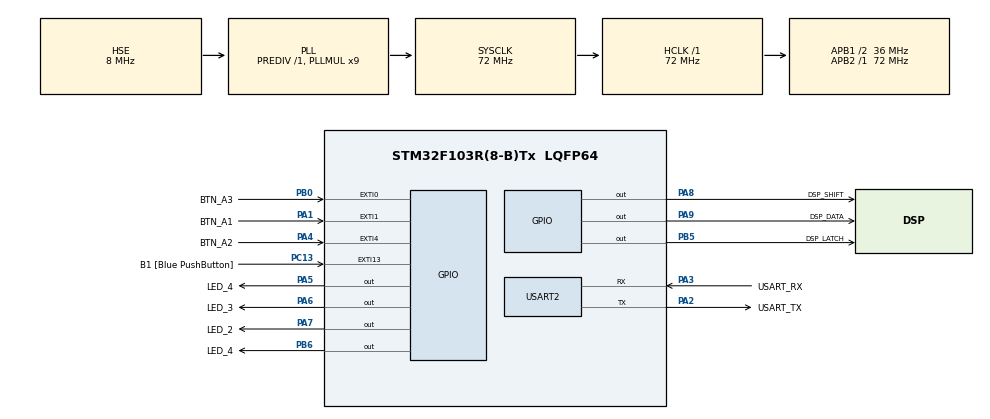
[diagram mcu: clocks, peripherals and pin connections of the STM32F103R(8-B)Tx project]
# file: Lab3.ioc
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Mcu.Family=STM32F1
Mcu.Name=STM32F103R(8-B)Tx
Mcu.Package=LQFP64
NVIC.EXTI0_IRQn=true\:0\:0\:false\:true\:true\:5\:true\:true\:true
NVIC.EXTI15_10_IRQn=true\:0\:0\:false\:true\:true\:1\:true\:true\:true
NVIC.EXTI1_IRQn=true\:0\:0\:false\:true\:true\:4\:true\:true\:true
NVIC.EXTI4_IRQn=true\:0\:0\:false\:true\:true\:3\:true\:true\:true
NVIC.PriorityGroup=NVIC_PRIORITYGROUP_4
NVIC.TIM1_UP_IRQn=true\:0\:0\:false\:true\:true\:2\:true\:true\:true
NVIC.TIM2_IRQn=true\:0\:0\:false\:true\:true\:6\:true\:true\:true
PA1.GPIO_Label=BTN_A1
PA1.GPIO_ModeDefaultEXTI=GPIO_MODE_IT_RISING
PA1.Signal=GPXTI1
PA13.GPIO_Label=TMS
PA13.Mode=Serial_Wire
PA13.Signal=SYS_JTMS-SWDIO
PA14.GPIO_Label=TCK
PA14.Mode=Serial_Wire
PA14.Signal=SYS_JTCK-SWCLK
PA2.GPIO_Label=USART_TX
PA2.GPIO_Mode=GPIO_MODE_AF_PP
PA2.GPIO_PuPd=GPIO_NOPULL
PA2.GPIO_Speed=GPIO_SPEED_FREQ_LOW
PA2.Mode=Asynchronous
PA2.Signal=USART2_TX
PA3.GPIO_Label=USART_RX
PA3.GPIO_Mode=GPIO_MODE_AF_PP
PA3.GPIO_PuPd=GPIO_NOPULL
PA3.GPIO_Speed=GPIO_SPEED_FREQ_LOW
PA3.Mode=Asynchronous
PA3.Signal=USART2_RX
PA4.GPIO_Label=BTN_A2
PA4.GPIO_ModeDefaultEXTI=GPIO_MODE_IT_RISING
PA4.Signal=GPXTI4
PA5.GPIO_Label=LED_4
PA5.Signal=GPIO_Output
PA6.GPIO_Label=LED_3
PA6.Signal=GPIO_Output
PA7.GPIO_Label=LED_2
PA7.Signal=GPIO_Output
PA8.GPIO_Label=DSP_SHIFT
PA8.Signal=GPIO_Output
PA9.GPIO_Label=DSP_DATA
PA9.Signal=GPIO_Output
PB0.GPIO_Label=BTN_A3
PB0.GPIO_ModeDefaultEXTI=GPIO_MODE_IT_RISING
PB0.Signal=GPXTI0
PB3.GPIO_Label=SWO
PB3.Signal=SYS_JTDO-TRACESWO
PB5.GPIO_Label=DSP_LATCH
PB5.Signal=GPIO_Output
PB6.GPIO_Label=LED_4
PB6.Signal=GPIO_Output
PC13-TAMPER-RTC.GPIO_Label=B1 [Blue PushButton]
PC13-TAMPER-RTC.GPIO_PuPd=GPIO_NOPULL
PC13-TAMPER-RTC.Signal=GPXTI13
PC14-OSC32_IN.Mode=LSE-External-Oscillator
PC14-OSC32_IN.Signal=RCC_OSC32_IN
PC15-OSC32_OUT.Mode=LSE-External-Oscillator
PC15-OSC32_OUT.Signal=RCC_OSC32_OUT
PD0-OSC_IN.Mode=HSE-External-Clock-Source
PD0-OSC_IN.Signal=RCC_OSC_IN
PD1-OSC_OUT.Mode=HSE-External-Clock-Source
PD1-OSC_OUT.Signal=RCC_OSC_OUT
ProjectManager.HeapSize=0x200
ProjectManager.StackSize=0x400
ProjectManager.TargetToolchain=MDK-ARM V5.32
RCC.AHBFreq_Value=72000000
RCC.APB1CLKDivider=RCC_HCLK_DIV2
RCC.APB1Freq_Value=36000000
RCC.APB1TimFreq_Value=72000000
RCC.APB2Freq_Value=72000000
RCC.APB2TimFreq_Value=72000000
RCC.HCLKFreq_Value=72000000
RCC.PLLMUL=RCC_PLL_MUL9
RCC.PLLSourceVirtual=RCC_PLLSOURCE_HSE
RCC.RTCClockSelection=RCC_RTCCLKSOURCE_LSE
RCC.SYSCLKFreq_VALUE=72000000
RCC.SYSCLKSource=RCC_SYSCLKSOURCE_PLLCLK
RCC.USBFreq_Value=72000000
TIM1.Period=9999
TIM1.Prescaler=719
TIM2.Period=19999
TIM2.Prescaler=719
USART2.VirtualMode=VM_ASYNC
VP_TIM1_VS_ClockSourceINT.Mode=Internal
VP_TIM2_VS_ClockSourceINT.Mode=Internal
board=NUCLEO-F103RB

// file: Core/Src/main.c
/* USER CODE BEGIN Header */
/**
  ******************************************************************************
  * @file           : main.c
  * @brief          : Main program body
  ******************************************************************************
  * @attention
  *
  * Copyright (c) 2022 STMicroelectronics.
  * All rights reserved.
  *
  * This software is licensed under terms that can be found in the LICENSE file
  * in the root directory of this software component.
  * If no LICENSE file comes with this software, it is provided AS-IS.
  *
  ******************************************************************************
  */
/* USER CODE END Header */
#include "main.h"

TIM_HandleTypeDef htim1;
TIM_HandleTypeDef htim2;

UART_HandleTypeDef huart2;

/* USER CODE BEGIN PV */
int tim_milliseconds = 0;
int tim_seconds = 0;
int tim_minutes = 0;
int tim_init = 0;
int enable = 0;
uint16_t pressed_pin = 0;
int digits[12] = { 0xC0, 0xF9, 0xA4, 0xB0, 0x99, 0x92, 0x82, 0xF8, 0x80, 0x90, 0x7F, 0xFF };
int positions[5] = { 0x00, 0x01, 0x02, 0x04, 0x08 };
/* USER CODE END PV */

void SystemClock_Config(void);
static void MX_GPIO_Init(void);
static void MX_USART2_UART_Init(void);
static void MX_TIM1_Init(void);
static void MX_TIM2_Init(void);
static void MX_NVIC_Init(void);
/* USER CODE BEGIN PFP */
void WriteDigit(int, int);
void ResetLeds();
/* USER CODE END PFP */

/* USER CODE BEGIN 0 */
void WriteDigit(int position, int digit)
{
	int j = 0;
	while (j < 8)
	{
		if (((digit << j) & 0x80) != 0)
		{
			HAL_GPIO_WritePin(DSP_DATA_GPIO_Port, DSP_DATA_Pin, GPIO_PIN_SET);
		}
		else
		{
			HAL_GPIO_WritePin(DSP_DATA_GPIO_Port, DSP_DATA_Pin, GPIO_PIN_RESET);
		}
		HAL_GPIO_WritePin(DSP_SHIFT_GPIO_Port, DSP_SHIFT_Pin, GPIO_PIN_SET);
		HAL_GPIO_WritePin(DSP_SHIFT_GPIO_Port, DSP_SHIFT_Pin, GPIO_PIN_RESET);
		++j;
	}
	j = 0;
	while (j < 8)
	{
		if (((position << j) & 0x80) != 0)
		{
			HAL_GPIO_WritePin(DSP_DATA_GPIO_Port, DSP_DATA_Pin, GPIO_PIN_SET);
		}
		else
		{
			HAL_GPIO_WritePin(DSP_DATA_GPIO_Port, DSP_DATA_Pin, GPIO_PIN_RESET);
		}
		HAL_GPIO_WritePin(DSP_SHIFT_GPIO_Port, DSP_SHIFT_Pin, GPIO_PIN_SET);
		HAL_GPIO_WritePin(DSP_SHIFT_GPIO_Port, DSP_SHIFT_Pin, GPIO_PIN_RESET);
		++j;
	}
	HAL_GPIO_WritePin(DSP_LATCH_GPIO_Port, DSP_LATCH_Pin, GPIO_PIN_SET);
	HAL_GPIO_WritePin(DSP_LATCH_GPIO_Port, DSP_LATCH_Pin, GPIO_PIN_RESET);
}

void ResetLeds()
{
	HAL_GPIO_WritePin(GPIOA, GPIO_PIN_5, GPIO_PIN_SET);
	HAL_GPIO_WritePin(GPIOA, GPIO_PIN_6, GPIO_PIN_SET);
	HAL_GPIO_WritePin(GPIOA, GPIO_PIN_7, GPIO_PIN_SET);
	HAL_GPIO_WritePin(GPIOB, GPIO_PIN_6, GPIO_PIN_SET);
}
/* USER CODE END 0 */

int main(void)
{

  /* MCU Configuration--------------------------------------------------------*/

  /* Reset of all peripherals, Initializes the Flash interface and the Systick. */
  HAL_Init();

  /* Configure the system clock */
  SystemClock_Config();

  /* Initialize all configured peripherals */
  MX_GPIO_Init();
  MX_USART2_UART_Init();
  MX_TIM1_Init();
  MX_TIM2_Init();

  /* Initialize interrupts */
  MX_NVIC_Init();
  /* USER CODE BEGIN 2 */
	HAL_GPIO_WritePin(GPIOA, GPIO_PIN_5, GPIO_PIN_SET);
	HAL_GPIO_WritePin(GPIOA, GPIO_PIN_6, GPIO_PIN_SET);
	HAL_GPIO_WritePin(GPIOA, GPIO_PIN_7, GPIO_PIN_SET);
	HAL_GPIO_WritePin(GPIOB, GPIO_PIN_6, GPIO_PIN_SET);

	HAL_TIM_Base_Start_IT(&htim2);
	HAL_GPIO_WritePin(GPIOA, GPIO_PIN_5, GPIO_PIN_RESET);
  /* USER CODE END 2 */

  /* Infinite loop */
  while (1)
  {
		int units = tim_seconds % 10;
		int dozens = tim_seconds / 10;
		WriteDigit(positions[4], digits[tim_milliseconds]);
		WriteDigit(positions[3], digits[units] & digits[10]);
		if (dozens > 0 || tim_minutes > 0)
		{
			WriteDigit(positions[2], digits[dozens]);
		}
		if (tim_minutes > 0)
		{
			WriteDigit(positions[1], digits[tim_minutes] & digits[10]);
		}
  }
}

void SystemClock_Config(void)
{
  RCC_OscInitTypeDef RCC_OscInitStruct = {0};
  RCC_ClkInitTypeDef RCC_ClkInitStruct = {0};

  /** Initializes the RCC Oscillators according to the specified parameters
  * in the RCC_OscInitTypeDef structure.
  */
  RCC_OscInitStruct.OscillatorType = RCC_OSCILLATORTYPE_HSE;
  RCC_OscInitStruct.HSEState = RCC_HSE_BYPASS;
  RCC_OscInitStruct.HSEPredivValue = RCC_HSE_PREDIV_DIV1;
  RCC_OscInitStruct.HSIState = RCC_HSI_ON;
  RCC_OscInitStruct.PLL.PLLState = RCC_PLL_ON;
  RCC_OscInitStruct.PLL.PLLSource = RCC_PLLSOURCE_HSE;
  RCC_OscInitStruct.PLL.PLLMUL = RCC_PLL_MUL9;
  if (HAL_RCC_OscConfig(&RCC_OscInitStruct) != HAL_OK)
  {
    Error_Handler();
  }

  /** Initializes the CPU, AHB and APB buses clocks
  */
  RCC_ClkInitStruct.ClockType = RCC_CLOCKTYPE_HCLK|RCC_CLOCKTYPE_SYSCLK
                              |RCC_CLOCKTYPE_PCLK1|RCC_CLOCKTYPE_PCLK2;
  RCC_ClkInitStruct.SYSCLKSource = RCC_SYSCLKSOURCE_PLLCLK;
  RCC_ClkInitStruct.AHBCLKDivider = RCC_SYSCLK_DIV1;
  RCC_ClkInitStruct.APB1CLKDivider = RCC_HCLK_DIV2;
  RCC_ClkInitStruct.APB2CLKDivider = RCC_HCLK_DIV1;

  if (HAL_RCC_ClockConfig(&RCC_ClkInitStruct, FLASH_LATENCY_2) != HAL_OK)
  {
    Error_Handler();
  }
}

/**
  * @brief NVIC Configuration.
  * @retval None
  */
static void MX_NVIC_Init(void)
{
  /* EXTI15_10_IRQn interrupt configuration */
  HAL_NVIC_SetPriority(EXTI15_10_IRQn, 0, 0);
  HAL_NVIC_EnableIRQ(EXTI15_10_IRQn);
  /* TIM1_UP_IRQn interrupt configuration */
  HAL_NVIC_SetPriority(TIM1_UP_IRQn, 0, 0);
  HAL_NVIC_EnableIRQ(TIM1_UP_IRQn);
  /* EXTI4_IRQn interrupt configuration */
  HAL_NVIC_SetPriority(EXTI4_IRQn, 0, 0);
  HAL_NVIC_EnableIRQ(EXTI4_IRQn);
  /* EXTI1_IRQn interrupt configuration */
  HAL_NVIC_SetPriority(EXTI1_IRQn, 0, 0);
  HAL_NVIC_EnableIRQ(EXTI1_IRQn);
  /* EXTI0_IRQn interrupt configuration */
  HAL_NVIC_SetPriority(EXTI0_IRQn, 0, 0);
  HAL_NVIC_EnableIRQ(EXTI0_IRQn);
  /* TIM2_IRQn interrupt configuration */
  HAL_NVIC_SetPriority(TIM2_IRQn, 0, 0);
  HAL_NVIC_EnableIRQ(TIM2_IRQn);
}

static void MX_TIM1_Init(void)
{

  TIM_ClockConfigTypeDef sClockSourceConfig = {0};
  TIM_MasterConfigTypeDef sMasterConfig = {0};

  htim1.Instance = TIM1;
  htim1.Init.Prescaler = 719;
  htim1.Init.CounterMode = TIM_COUNTERMODE_UP;
  htim1.Init.Period = 9999;
  htim1.Init.ClockDivision = TIM_CLOCKDIVISION_DIV1;
  htim1.Init.RepetitionCounter = 0;
  htim1.Init.AutoReloadPreload = TIM_AUTORELOAD_PRELOAD_DISABLE;
  if (HAL_TIM_Base_Init(&htim1) != HAL_OK)
  {
    Error_Handler();
  }
  sClockSourceConfig.ClockSource = TIM_CLOCKSOURCE_INTERNAL;
  if (HAL_TIM_ConfigClockSource(&htim1, &sClockSourceConfig) != HAL_OK)
  {
    Error_Handler();
  }
  sMasterConfig.MasterOutputTrigger = TIM_TRGO_RESET;
  sMasterConfig.MasterSlaveMode = TIM_MASTERSLAVEMODE_DISABLE;
  if (HAL_TIMEx_MasterConfigSynchronization(&htim1, &sMasterConfig) != HAL_OK)
  {
    Error_Handler();
  }

}

static void MX_TIM2_Init(void)
{

  TIM_ClockConfigTypeDef sClockSourceConfig = {0};
  TIM_MasterConfigTypeDef sMasterConfig = {0};

  htim2.Instance = TIM2;
  htim2.Init.Prescaler = 719;
  htim2.Init.CounterMode = TIM_COUNTERMODE_UP;
  htim2.Init.Period = 19999;
  htim2.Init.ClockDivision = TIM_CLOCKDIVISION_DIV1;
  htim2.Init.AutoReloadPreload = TIM_AUTORELOAD_PRELOAD_DISABLE;
  if (HAL_TIM_Base_Init(&htim2) != HAL_OK)
  {
    Error_Handler();
  }
  sClockSourceConfig.ClockSource = TIM_CLOCKSOURCE_INTERNAL;
  if (HAL_TIM_ConfigClockSource(&htim2, &sClockSourceConfig) != HAL_OK)
  {
    Error_Handler();
  }
  sMasterConfig.MasterOutputTrigger = TIM_TRGO_RESET;
  sMasterConfig.MasterSlaveMode = TIM_MASTERSLAVEMODE_DISABLE;
  if (HAL_TIMEx_MasterConfigSynchronization(&htim2, &sMasterConfig) != HAL_OK)
  {
    Error_Handler();
  }

}

static void MX_USART2_UART_Init(void)
{

  huart2.Instance = USART2;
  huart2.Init.BaudRate = 115200;
  huart2.Init.WordLength = UART_WORDLENGTH_8B;
  huart2.Init.StopBits = UART_STOPBITS_1;
  huart2.Init.Parity = UART_PARITY_NONE;
  huart2.Init.Mode = UART_MODE_TX_RX;
  huart2.Init.HwFlowCtl = UART_HWCONTROL_NONE;
  huart2.Init.OverSampling = UART_OVERSAMPLING_16;
  if (HAL_UART_Init(&huart2) != HAL_OK)
  {
    Error_Handler();
  }

}

static void MX_GPIO_Init(void)
{
  GPIO_InitTypeDef GPIO_InitStruct = {0};

  /* GPIO Ports Clock Enable */
  __HAL_RCC_GPIOC_CLK_ENABLE();
  __HAL_RCC_GPIOD_CLK_ENABLE();
  __HAL_RCC_GPIOA_CLK_ENABLE();
  __HAL_RCC_GPIOB_CLK_ENABLE();

  /*Configure GPIO pin Output Level */
  HAL_GPIO_WritePin(GPIOA, LED_4_Pin|LED_3_Pin|LED_2_Pin|DSP_SHIFT_Pin
                          |DSP_DATA_Pin, GPIO_PIN_RESET);

  /*Configure GPIO pin Output Level */
  HAL_GPIO_WritePin(GPIOB, DSP_LATCH_Pin|LED_4B6_Pin, GPIO_PIN_RESET);

  /*Configure GPIO pin : B1_Pin */
  GPIO_InitStruct.Pin = B1_Pin;
  GPIO_InitStruct.Mode = GPIO_MODE_IT_RISING;
  GPIO_InitStruct.Pull = GPIO_NOPULL;
  HAL_GPIO_Init(B1_GPIO_Port, &GPIO_InitStruct);

  /*Configure GPIO pins : BTN_A1_Pin BTN_A2_Pin */
  GPIO_InitStruct.Pin = BTN_A1_Pin|BTN_A2_Pin;
  GPIO_InitStruct.Mode = GPIO_MODE_IT_RISING;
  GPIO_InitStruct.Pull = GPIO_NOPULL;
  HAL_GPIO_Init(GPIOA, &GPIO_InitStruct);

  /*Configure GPIO pins : LED_4_Pin LED_3_Pin LED_2_Pin DSP_SHIFT_Pin
                           DSP_DATA_Pin */
  GPIO_InitStruct.Pin = LED_4_Pin|LED_3_Pin|LED_2_Pin|DSP_SHIFT_Pin
                          |DSP_DATA_Pin;
  GPIO_InitStruct.Mode = GPIO_MODE_OUTPUT_PP;
  GPIO_InitStruct.Pull = GPIO_NOPULL;
  GPIO_InitStruct.Speed = GPIO_SPEED_FREQ_LOW;
  HAL_GPIO_Init(GPIOA, &GPIO_InitStruct);

  /*Configure GPIO pin : BTN_A3_Pin */
  GPIO_InitStruct.Pin = BTN_A3_Pin;
  GPIO_InitStruct.Mode = GPIO_MODE_IT_RISING;
  GPIO_InitStruct.Pull = GPIO_NOPULL;
  HAL_GPIO_Init(BTN_A3_GPIO_Port, &GPIO_InitStruct);

  /*Configure GPIO pins : DSP_LATCH_Pin LED_4B6_Pin */
  GPIO_InitStruct.Pin = DSP_LATCH_Pin|LED_4B6_Pin;
  GPIO_InitStruct.Mode = GPIO_MODE_OUTPUT_PP;
  GPIO_InitStruct.Pull = GPIO_NOPULL;
  GPIO_InitStruct.Speed = GPIO_SPEED_FREQ_LOW;
  HAL_GPIO_Init(GPIOB, &GPIO_InitStruct);

}

/* USER CODE BEGIN 4 */
void HAL_GPIO_EXTI_Callback(uint16_t GPIO_Pin)
{
	if (GPIO_Pin == BTN_A1_Pin && pressed_pin != BTN_A1_Pin)
	{
		if (tim_init == 0)
		{
			HAL_TIM_Base_Start_IT(&htim1);
			tim_init = 1;
			enable = 1;
			ResetLeds();
			HAL_GPIO_WritePin(GPIOA, GPIO_PIN_6, GPIO_PIN_RESET);
		}
		else
		{
			if (enable == 1)
			{
				htim1.Instance->CR1 &= ~TIM_CR1_CEN;
				enable = 0;
				tim_seconds = 0;
				tim_milliseconds = 0;
				tim_minutes = 0;
				ResetLeds();
				HAL_GPIO_WritePin(GPIOA, GPIO_PIN_5, GPIO_PIN_RESET);
			}
			else
			{
				if (tim_milliseconds > 0 || tim_seconds > 0 || tim_minutes > 0)
				{
					tim_seconds = 0;
					tim_milliseconds = 0;
					tim_minutes = 0;
					ResetLeds();
					HAL_GPIO_WritePin(GPIOA, GPIO_PIN_5, GPIO_PIN_RESET);
				}
				else
				{
					htim1.Instance->CR1 |= TIM_CR1_CEN;
					enable = 1;
					ResetLeds();
					HAL_GPIO_WritePin(GPIOA, GPIO_PIN_6, GPIO_PIN_RESET);
				}
			}
		}
		pressed_pin = BTN_A1_Pin;
	}
	if (GPIO_Pin == BTN_A2_Pin && pressed_pin != BTN_A2_Pin)
	{
			if (enable == 1)
			{
				htim1.Instance->CR1 &= ~TIM_CR1_CEN;
				enable = 0;
				ResetLeds();
				HAL_GPIO_WritePin(GPIOA, GPIO_PIN_7, GPIO_PIN_RESET);
			}
			else if (tim_milliseconds > 0 || tim_seconds > 0 || tim_minutes > 0)
			{
				htim1.Instance->CR1 |= TIM_CR1_CEN;
				enable = 1;
				ResetLeds();
				HAL_GPIO_WritePin(GPIOA, GPIO_PIN_6, GPIO_PIN_RESET);
			}
			pressed_pin = BTN_A2_Pin;
	}
}

void HAL_TIM_PeriodElapsedCallback(TIM_HandleTypeDef *htim)
{
	if(htim->Instance == TIM1)
  {
		++tim_milliseconds;
		if (tim_milliseconds == 10)
		{
			tim_milliseconds = 0;
			++tim_seconds;
		}
		if (tim_seconds == 60)
		{
			tim_seconds = 0;
			++tim_minutes;
		}
		if (tim_minutes == 10)
		{
			tim_minutes = 0;
		}
  }
	if(htim->Instance == TIM2)
  {
		pressed_pin = 0;
  }
}
/* USER CODE END 4 */

void Error_Handler(void)
{
  __disable_irq();
  while (1)
  {
  }
}
